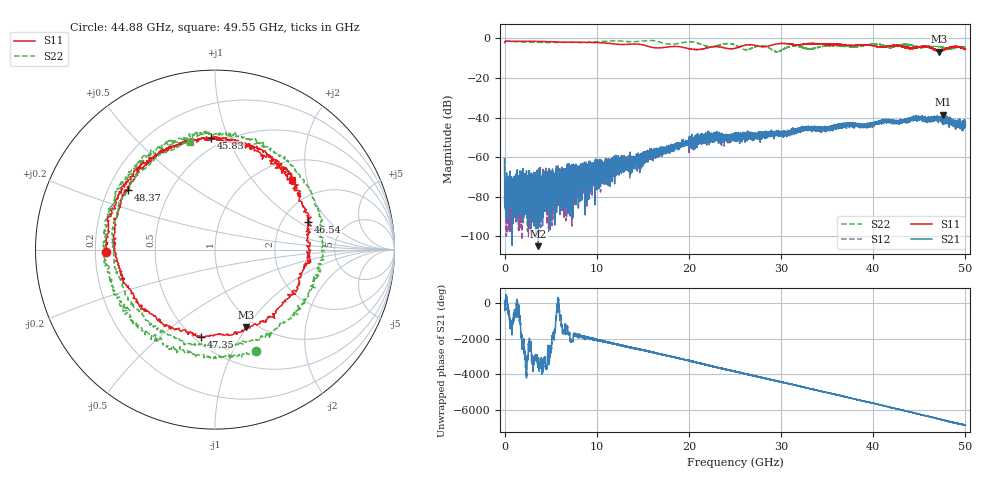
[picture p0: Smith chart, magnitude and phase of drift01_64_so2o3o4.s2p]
!Created with skrf (http://scikit-rf.org).
# Hz S RI R 50.0
!freq ReS11 ImS11 ReS21 ImS21 ReS12 ImS12 ReS22 ImS22
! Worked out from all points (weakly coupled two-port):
!   10001 points, 300 kHz to 50 GHz, reference 50 ohm
!   highest |S21| = -38.44 dB at 47.59 GHz (marker M1); lowest = -104.9 dB at 3.655 GHz (marker M2)
!   lowest |S11| = -6.6 dB at 47.15 GHz (marker M3), VSWR 2.74, Z = 44.9 - j49.5 ohm
!   |S11| at or under -10 dB: nowhere
!   |S22| runs from -6.8 to -1.0 dB; largest |S21 - S12| = 0.0038
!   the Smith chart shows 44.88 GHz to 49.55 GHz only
!   S11 on the Smith chart (normalised r, x): 44.88 GHz: 0.25, -0.01; 45.83 GHz: 0.43, +0.87; 46.54 GHz: 2.77, +1.18; 47.35 GHz: 0.54, -0.70; 48.37 GHz: 0.28, +0.29; 49.55 GHz: 1.39, +1.63
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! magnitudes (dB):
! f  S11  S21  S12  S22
! 300 kHz  -2.1  -60.8  -60.4  -1.3
! 275.3 MHz  -1.4  -77.1  -74.2  -1.4
! 3.655 GHz  -1.5  -104.9  -72.7  -2.0
! 4.895 GHz  -1.6  -82.5  -72.7  -2.1
! 8.335 GHz  -1.9  -69.4  -67.8  -2.1
! 16.67 GHz  -4.8  -57.0  -55.7  -1.6
! 21.67 GHz  -5.2  -49.9  -49.9  -3.6
! 25 GHz  -5.0  -49.8  -50.6  -3.4
! 28.07 GHz  -4.2  -47.9  -49.1  -3.8
! 29.53 GHz  -2.8  -47.9  -48.3  -6.7
! 31.29 GHz  -3.1  -46.6  -47.0  -3.9
! 33.34 GHz  -2.6  -45.8  -44.8  -5.4
! 41.67 GHz  -3.9  -41.6  -41.5  -4.4
! 44.88 GHz  -4.4  -39.7  -40.2  -4.3
! 45.83 GHz  -4.1  -41.2  -41.1  -4.2
! 46.54 GHz  -5.4  -40.3  -40.3  -3.5
! 47.15 GHz  -6.6  -40.4  -40.5  -4.1
! 47.35 GHz  -6.1  -41.4  -40.3  -4.3
! 47.59 GHz  -5.9  -38.4  -41.4  -4.8
! 48.37 GHz  -4.6  -42.3  -43.3  -5.2
! 49.55 GHz  -4.8  -43.3  -42.9  -4.2
! 50 GHz  -5.5  -43.6  -44.3  -4.3
